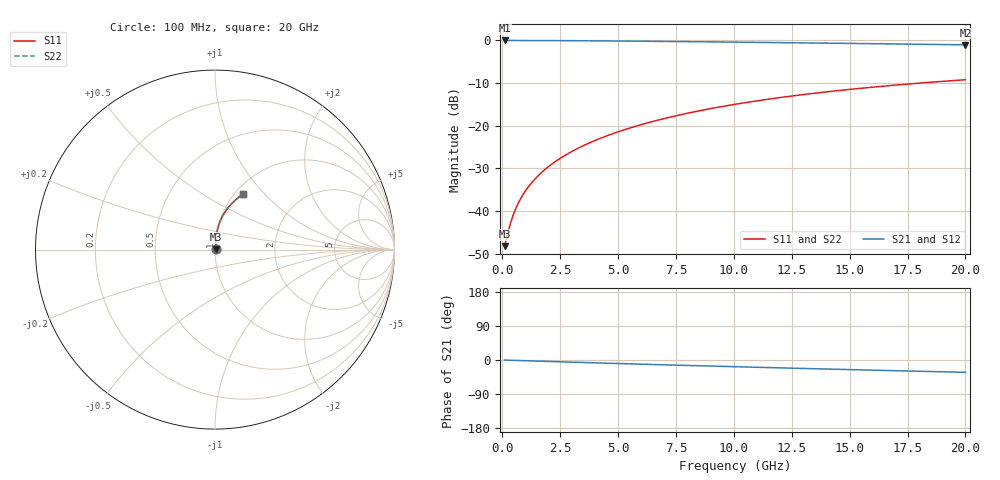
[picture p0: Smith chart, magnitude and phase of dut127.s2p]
! Touchstone file exported from HFSS 2024.1.0
!  File:  C:/UserFiles/LocalFiles/RDL_TSV_Batchsim/temp_RDL_bottom_127_1778696275.aedt
!  Generated:  02:20:48 AM May 14, 2026
!  Design:  RDL_bottom
!  Project:  temp_RDL_bottom_127_1778696275
!  Setup:  Setup1
!  Solution:  Sweep
! Variables:
!  dtsv = 10.80580581um
!  hbump = 3um
!  htsv = 75.78um
!  ldown = 397.35um
!  lrdl = 100um
!  p = 40
!  p1 = 56.9um
!  rhole = 1um
!  t = 450um
!  tdown = 2.04um
!  trdl = 3.915915916um
!  wdown = 22.43um
!  wrdl = 20um
# GHz S MA R 50.000000
! Terminal data exported
! Port[1] = RDL1_T1
! Port[2] = RDL1_T2
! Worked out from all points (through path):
!   200 points, 100 MHz to 20 GHz, reference 50 ohm
!   highest |S21| = -0.03 dB at 100 MHz (marker M1); lowest = -1.1 dB at 20 GHz (marker M2)
!   group delay of S21, straight-line fit = 4.49 ps
!   lowest |S11| = -48.2 dB at 100 MHz (marker M3), VSWR 1.01, Z = 50.3 + j0.178 ohm
!   |S11| at or under -10 dB: start of sweep to 18.07 GHz
!   |S22| runs from -48.2 to -9.2 dB; largest |S21 - S12| = 3.4e-15
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0.1  0.003878 27.2  0.9965 -0.2  0.9965 -0.2  0.003878 27.2
! Gamma 0 0 0 0
! Port Impedance 50 0 50 0
0.3  0.006368 55.5  0.9963 -0.6  0.9963 -0.6  0.006368 55.5
0.4  0.007872 61.8  0.9962 -0.8  0.9962 -0.8  0.007872 61.8
0.5  0.009416 66.0  0.996 -1.0  0.996 -1.0  0.009417 66.0
0.6  0.01097 69.0  0.9959 -1.2  0.9959 -1.2  0.01097 69.0
0.7  0.01253 71.2  0.9957 -1.4  0.9957 -1.4  0.01253 71.2
0.9  0.01566 74.4  0.9953 -1.7  0.9953 -1.7  0.01566 74.4
1.2  0.02038 77.5  0.9948 -2.3  0.9948 -2.3  0.02038 77.5
1.4  0.02355 79.0  0.9944 -2.7  0.9944 -2.7  0.02355 79.0
1.7  0.02836 80.6  0.9937 -3.3  0.9937 -3.3  0.02836 80.6
2.2  0.03649 82.3  0.9925 -4.2  0.9925 -4.2  0.03649 82.3
2.8  0.04646 83.4  0.9907 -5.3  0.9907 -5.3  0.04646 83.4
3.5  0.05836 84.1  0.9881 -6.6  0.9881 -6.6  0.05836 84.1
4.2  0.07053 84.2  0.9852 -7.9  0.9852 -7.9  0.07053 84.2
5  0.08475 84.0  0.9815 -9.3  0.9815 -9.3  0.08475 84.0
6.8  0.1176 82.6  0.9721 -12.4  0.9721 -12.4  0.1176 82.6
8.4  0.1474 80.7  0.9628 -15.1  0.9628 -15.1  0.1474 80.7
10.1  0.179 78.3  0.9524 -17.8  0.9524 -17.8  0.179 78.3
11.7  0.2083 75.9  0.9422 -20.3  0.9422 -20.3  0.2083 75.9
13.4  0.2386 73.2  0.9311 -23.0  0.9311 -23.0  0.2386 73.2
16.7  0.2944 68.0  0.9087 -27.9  0.9087 -27.9  0.2943 68.0
20  0.3454 63.0  0.8856 -32.5  0.8856 -32.5  0.3454 63.0
